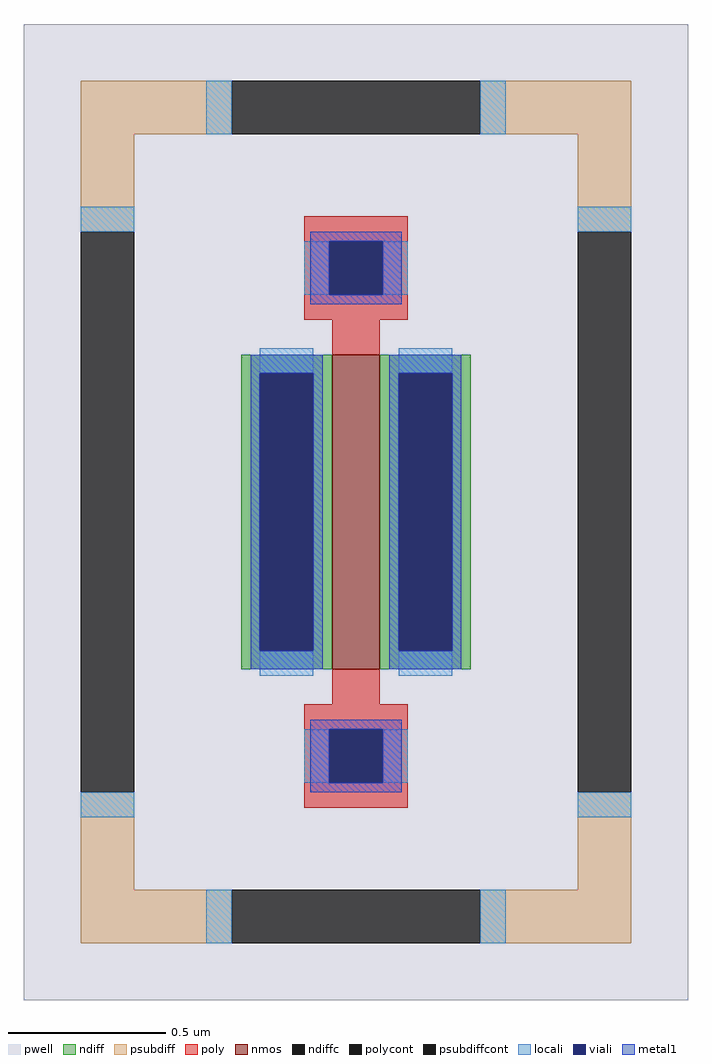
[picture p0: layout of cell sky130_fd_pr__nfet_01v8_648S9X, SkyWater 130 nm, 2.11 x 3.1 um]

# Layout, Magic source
magic
tech sky130A
magscale 1 2
<< pwell >>
rect -211 -310 211 310
<< nmos >>
rect -15 -100 15 100
<< ndiff >>
rect -73 88 -15 100
rect -73 -88 -61 88
rect -27 -88 -15 88
rect -73 -100 -15 -88
rect 15 88 73 100
rect 15 -88 27 88
rect 61 -88 73 88
rect 15 -100 73 -88
<< ndiffc >>
rect -61 -88 -27 88
rect 27 -88 61 88
<< psubdiff >>
rect -175 240 -79 274
rect 79 240 175 274
rect -175 178 -141 240
rect 141 178 175 240
rect -175 -240 -141 -178
rect 141 -240 175 -178
rect -175 -274 -79 -240
rect 79 -274 175 -240
<< psubdiffcont >>
rect -79 240 79 274
rect -175 -178 -141 178
rect 141 -178 175 178
rect -79 -274 79 -240
<< poly >>
rect -33 172 33 188
rect -33 138 -17 172
rect 17 138 33 172
rect -33 122 33 138
rect -15 100 15 122
rect -15 -122 15 -100
rect -33 -138 33 -122
rect -33 -172 -17 -138
rect 17 -172 33 -138
rect -33 -188 33 -172
<< polycont >>
rect -17 138 17 172
rect -17 -172 17 -138
<< locali >>
rect -95 240 -79 274
rect 79 240 95 274
rect -175 178 -141 194
rect 141 178 175 194
rect -33 138 -17 172
rect 17 138 33 172
rect -61 88 -27 104
rect -61 -104 -27 -88
rect 27 88 61 104
rect 27 -104 61 -88
rect -33 -172 -17 -138
rect 17 -172 33 -138
rect -175 -194 -141 -178
rect 141 -194 175 -178
rect -95 -274 -79 -240
rect 79 -274 95 -240
<< viali >>
rect -17 138 17 172
rect -61 -88 -27 88
rect 27 -88 61 88
rect -17 -172 17 -138
<< metal1 >>
rect -29 172 29 178
rect -29 138 -17 172
rect 17 138 29 172
rect -29 132 29 138
rect -67 88 -21 100
rect -67 -88 -61 88
rect -27 -88 -21 88
rect -67 -100 -21 -88
rect 21 88 67 100
rect 21 -88 27 88
rect 61 -88 67 88
rect 21 -100 67 -88
rect -29 -138 29 -132
rect -29 -172 -17 -138
rect 17 -172 29 -138
rect -29 -178 29 -172
<< properties >>
string FIXED_BBOX -158 -257 158 257
string gencell sky130_fd_pr__nfet_01v8
string library sky130
string parameters w 1.0 l 0.15 m 1 nf 1 diffcov 100 polycov 100 guard 1 glc 1 grc 1 gtc 1 gbc 1 tbcov 100 rlcov 100 topc 1 botc 1 poverlap 0 doverlap 1 lmin 0.15 wmin 0.42 compatible {sky130_fd_pr__nfet_01v8 sky130_fd_pr__nfet_01v8_lvt  sky130_fd_bs_flash__special_sonosfet_star  sky130_fd_pr__nfet_g5v0d10v5 sky130_fd_pr__nfet_05v0_nvt  sky130_fd_pr__nfet_03v3_nvt} full_metal 0 viasrc 100 viadrn 100 viagate 100 viagb 0 viagr 0 viagl 0 viagt 0
<< end >>
